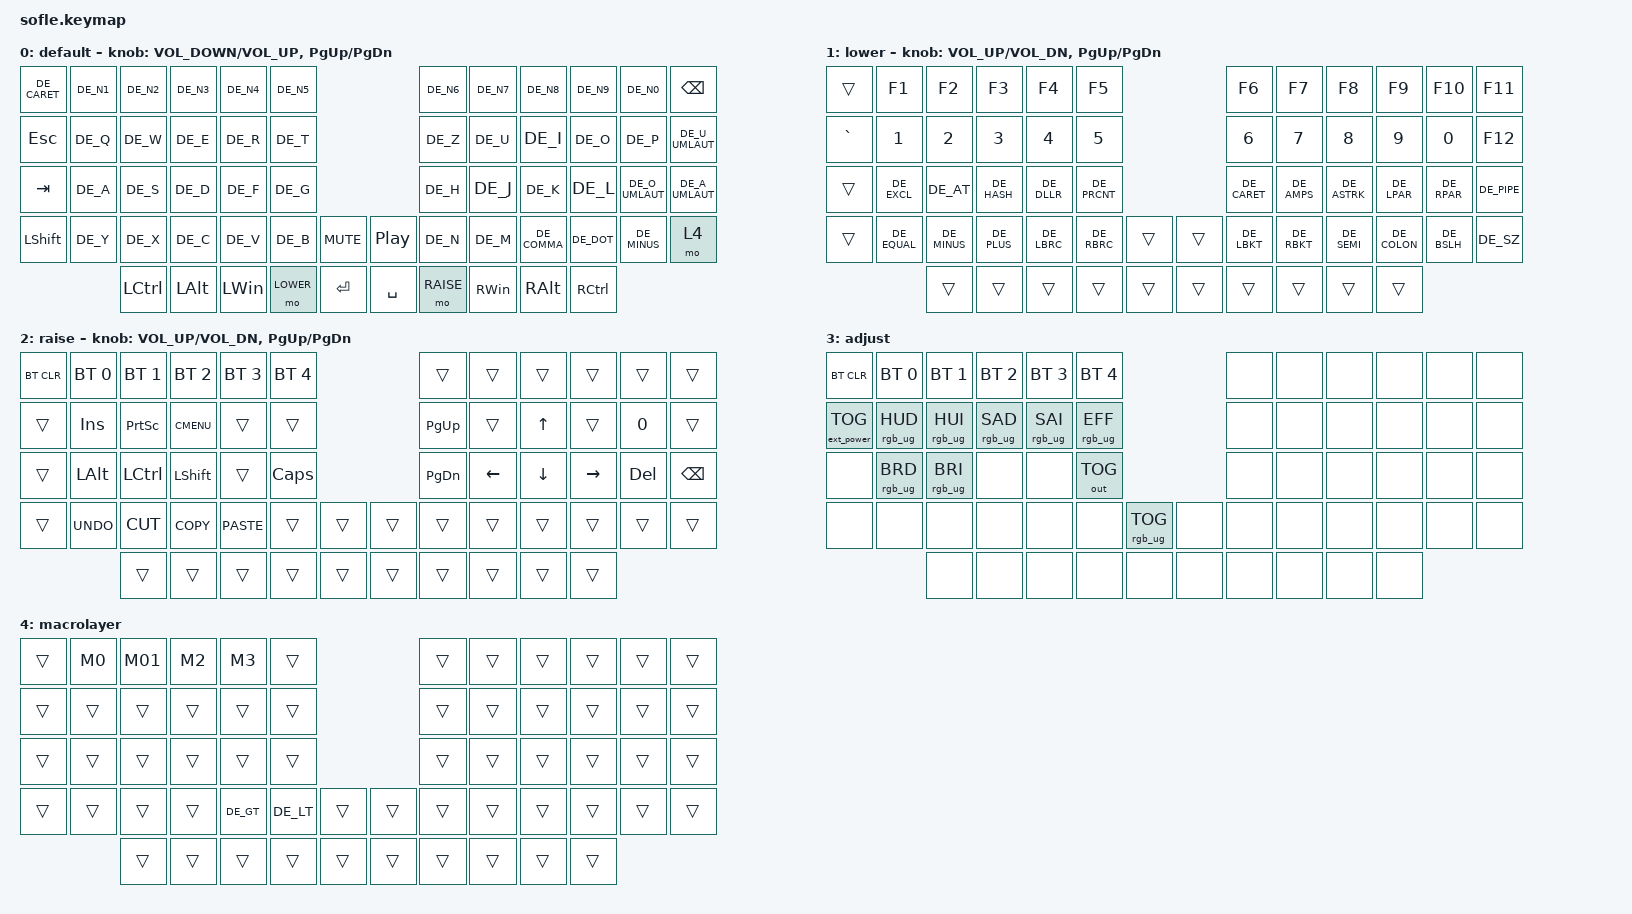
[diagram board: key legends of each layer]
/*
 * Copyright (c) 2020 The ZMK Contributors
 *
 * SPDX-License-Identifier: MIT
 */

#include "keys_de.h"
#include <behaviors.dtsi>
#include <dt-bindings/zmk/bt.h>
#include <dt-bindings/zmk/ext_power.h>
#include <dt-bindings/zmk/keys.h>
#include <dt-bindings/zmk/outputs.h>
#include <dt-bindings/zmk/rgb.h>

#define BASE 0
#define LOWER 1
#define RAISE 2
#define ADJUST 3

/ {
    // Activate ADJUST layer by pressing raise and lower

    conditional_layers {
        compatible = "zmk,conditional-layers";

        adjust_layer {
            if-layers = <LOWER RAISE>;
            then-layer = <ADJUST>;
        };
    };

    macros {
        M0: M0 {
            compatible = "zmk,behavior-macro";
            #binding-cells = <0>;
            bindings = <&none>, <&macro_press>, <&kp C_BRI_DN>;

            label = "M0";
        };

        M01: M01 {
            compatible = "zmk,behavior-macro";
            #binding-cells = <0>;
            bindings = <&none>, <&macro_press>, <&kp C_BRI_UP>;

            label = "M01";
        };

        M2: M2 {
            compatible = "zmk,behavior-macro";
            #binding-cells = <0>;
            bindings =
                <&none>,
                <&macro_press>,
                <&kp C_AC_DESKTOP_SHOW_ALL_APPLICATIONS>;

            label = "M2";
        };

        M3: M3 {
            compatible = "zmk,behavior-macro";
            #binding-cells = <0>;
            bindings = <&none>, <&macro_press>, <&kp C_AC_SEARCH>;

            label = "M3";
        };
    };

    keymap {
        compatible = "zmk,keymap";

        default_layer {
            display-name = "default";

            // ------------------------------------------------------------------------------------------------------------
            // |   `   |  1  |  2  |  3   |  4   |  5   |                   |  6   |  7    |  8    |  9   |   0   |       |
            // |  ESC  |  Q  |  W  |  E   |  R   |  T   |                   |  Y   |  U    |  I    |  O   |   P   | BKSPC |
            // |  TAB  |  A  |  S  |  D   |  F   |  G   |                   |  H   |  J    |  K    |  L   |   ;   |   '   |
            // | SHIFT |  Z  |  X  |  C   |  V   |  B   |  MUTE  |  |       |  N   |  M    |  ,    |  .   |   /   | SHIFT |
            //               | GUI | ALT  | CTRL | LOWER|  ENTER |  | SPACE | RAISE| CTRL  | ALT   | GUI  |

            bindings = <
&kp DE_CARET    &kp DE_N1  &kp DE_N2  &kp DE_N3     &kp DE_N4     &kp DE_N5                                  &kp DE_N6  &kp DE_N7      &kp DE_N8     &kp DE_N9   &kp DE_N0        &kp BACKSPACE
&kp ESC         &kp DE_Q   &kp DE_W   &kp DE_E      &kp DE_R      &kp DE_T                                   &kp DE_Z   &kp DE_U       &kp DE_I      &kp DE_O    &kp DE_P         &kp DE_U_UMLAUT
&kp TAB         &kp DE_A   &kp DE_S   &kp DE_D      &kp DE_F      &kp DE_G                                   &kp DE_H   &kp DE_J       &kp DE_K      &kp DE_L    &kp DE_O_UMLAUT  &kp DE_A_UMLAUT
&kp LEFT_SHIFT  &kp DE_Y   &kp DE_X   &kp DE_C      &kp DE_V      &kp DE_B   &kp C_MUTE    &kp C_PLAY_PAUSE  &kp DE_N   &kp DE_M       &kp DE_COMMA  &kp DE_DOT  &kp DE_MINUS     &mo 4
                           &kp LCTRL  &kp LEFT_ALT  &kp LEFT_WIN  &mo LOWER  &kp RET       &kp SPACE         &mo RAISE  &kp RIGHT_WIN  &kp RALT      &kp RCTRL
            >;

            sensor-bindings =
                <&inc_dec_kp C_VOLUME_DOWN C_VOLUME_UP>,
                <&inc_dec_kp PG_UP PG_DN>;

            label = "home";
        };

        lower_layer {
            display-name = "lower";

            // TODO: Some binds are waiting for shifted keycode support.
            // ------------------------------------------------------------------------------------------------------------
            // |       |  F1 |  F2 |  F3  |  F4  |  F5  |                   |  F6  |  F7   |  F8   |  F9  |  F10  |  F11  |
            // |   `   |  1  |  2  |  3   |  4   |  5   |                   |  6   |  7    |  8    |  9   |   0   |  F12  |
            // |       |  !  |  @  |  #   |  $   |  %   |                   |  ^   |  &    |  *    |  (   |   )   |   |   |
            // |       |  =  |  -  |  +   |  {   |  }   |        |  |       |  [   |  ]    |  ;    |  :   |   \   |       |
            //               |     |      |      |      |        |  |       |      |       |       |      |

            bindings = <
&trans     &kp F1        &kp F2        &kp F3       &kp F4       &kp F5                          &kp F6        &kp F7       &kp F8        &kp F9        &kp F10      &kp F11
&kp GRAVE  &kp N1        &kp N2        &kp N3       &kp N4       &kp N5                          &kp N6        &kp N7       &kp N8        &kp N9        &kp N0       &kp F12
&trans     &kp DE_EXCL   &kp DE_AT     &kp DE_HASH  &kp DE_DLLR  &kp DE_PRCNT                    &kp DE_CARET  &kp DE_AMPS  &kp DE_ASTRK  &kp DE_LPAR   &kp DE_RPAR  &kp DE_PIPE
&trans     &kp DE_EQUAL  &kp DE_MINUS  &kp DE_PLUS  &kp DE_LBRC  &kp DE_RBRC   &trans    &trans  &kp DE_LBKT   &kp DE_RBKT  &kp DE_SEMI   &kp DE_COLON  &kp DE_BSLH  &kp DE_SZ
                         &trans        &trans       &trans       &trans        &trans    &trans  &trans        &trans       &trans        &trans
            >;

            sensor-bindings = <&inc_dec_kp C_VOL_UP C_VOL_DN &inc_dec_kp PG_UP PG_DN>;
        };

        raise_layer {
            display-name = "raise";

            // ------------------------------------------------------------------------------------------------------------
            // | BTCLR | BT1  | BT2  |  BT3  |  BT4  |  BT5 |                |      |      |       |      |       |       |
            // |       | INS  | PSCR | GUI   |       |      |                | PGUP |      |   ^   |      |       |       |
            // |       | ALT  | CTRL | SHIFT |       | CAPS |                | PGDN |   <- |   v   |  ->  |  DEL  | BKSPC |
            // |       | UNDO | CUT  | COPY  | PASTE |      |      |  |      |      |      |       |      |       |       |
            //                |      |       |       |      |      |  |      |      |      |       |      |

            bindings = <
&bt BT_CLR  &bt BT_SEL 0  &bt BT_SEL 1  &bt BT_SEL 2  &bt BT_SEL 3  &bt BT_SEL 4                    &trans     &trans    &trans    &trans     &trans   &trans
&trans      &kp INS       &kp PSCRN     &kp K_CMENU   &trans        &trans                          &kp PG_UP  &trans    &kp UP    &trans     &kp N0   &trans
&trans      &kp LALT      &kp LCTRL     &kp LSHFT     &trans        &kp CLCK                        &kp PG_DN  &kp LEFT  &kp DOWN  &kp RIGHT  &kp DEL  &kp BSPC
&trans      &kp K_UNDO    &kp K_CUT     &kp K_COPY    &kp K_PASTE   &trans        &trans    &trans  &trans     &trans    &trans    &trans     &trans   &trans
                          &trans        &trans        &trans        &trans        &trans    &trans  &trans     &trans    &trans    &trans
            >;

            sensor-bindings = <&inc_dec_kp C_VOL_UP C_VOL_DN &inc_dec_kp PG_UP PG_DN>;
        };

        adjust_layer {
            // ----------------------------------------------------------------------------------------------------------------------------
            // | BTCLR  |  BT1    |  BT2    |   BT3   |   BT4   |   BT5   |                  |      |      |       |      |       |       |
            // | EXTPWR | RGB_HUD | RGB_HUI | RGB_SAD | RGB_SAI | RGB_EFF |                  |      |      |       |      |       |       |
            // |        | RGB_BRD | RGB_BRI |         |         |         |                  |      |      |       |      |       |       |
            // |        |         |         |         |         |         | RGB_TOG | |      |      |      |       |      |       |       |
            //                    |         |         |         |         |         | |      |      |      |       |      |

            display-name = "adjust";
            bindings = <
&bt BT_CLR         &bt BT_SEL 0     &bt BT_SEL 1     &bt BT_SEL 2     &bt BT_SEL 3     &bt BT_SEL 4                               &none  &none  &none  &none  &none  &none
&ext_power EP_TOG  &rgb_ug RGB_HUD  &rgb_ug RGB_HUI  &rgb_ug RGB_SAD  &rgb_ug RGB_SAI  &rgb_ug RGB_EFF                            &none  &none  &none  &none  &none  &none
&none              &rgb_ug RGB_BRD  &rgb_ug RGB_BRI  &none            &none            &out OUT_TOG                               &none  &none  &none  &none  &none  &none
&none              &none            &none            &none            &none            &none            &rgb_ug RGB_TOG    &none  &none  &none  &none  &none  &none  &none
                                    &none            &none            &none            &none            &none              &none  &none  &none  &none  &none
            >;
        };

        macrolayer {
            bindings = <
&trans  &M0     &M01    &M2     &M3        &trans                       &trans  &trans  &trans  &trans  &trans  &trans
&trans  &trans  &trans  &trans  &trans     &trans                       &trans  &trans  &trans  &trans  &trans  &trans
&trans  &trans  &trans  &trans  &trans     &trans                       &trans  &trans  &trans  &trans  &trans  &trans
&trans  &trans  &trans  &trans  &kp DE_GT  &kp DE_LT  &trans    &trans  &trans  &trans  &trans  &trans  &trans  &trans
                &trans  &trans  &trans     &trans     &trans    &trans  &trans  &trans  &trans  &trans
            >;
        };
    };
};
